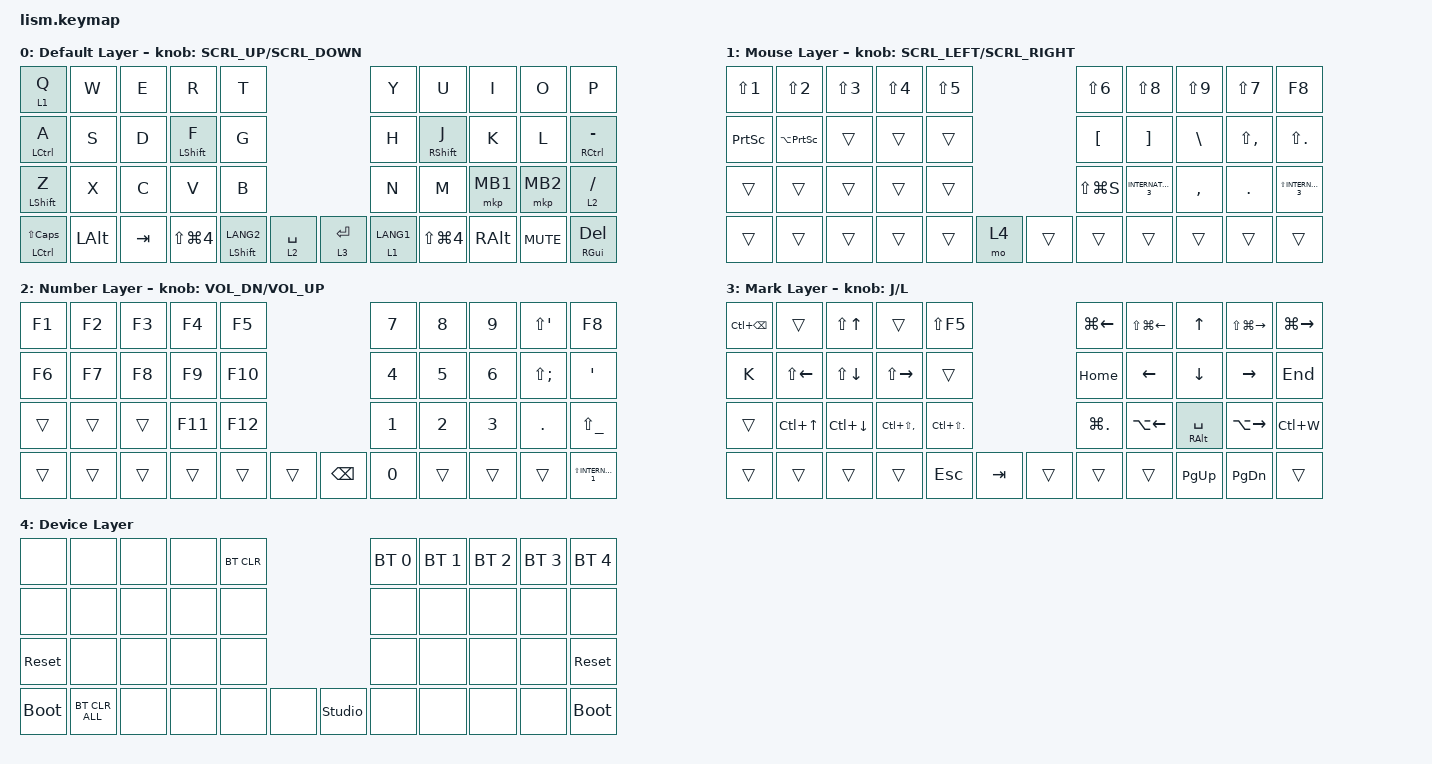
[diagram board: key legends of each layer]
#define ZMK_POINTING_DEFAULT_SCRL_VAL 200

#include <dt-bindings/zmk/mouse.h>
#include <behaviors.dtsi>
#include <dt-bindings/zmk/bt.h>
#include <dt-bindings/zmk/keys.h>
#include <dt-bindings/zmk/pointing.h>

&mt {
    tapping-term-ms = <200>;
    flavor = "balanced";
};

&lt { quick-tap-ms = <200>; };

/ {
    macros {
        emoji: emoji_macro {
            compatible = "zmk,behavior-macro";
            label = "EMOJI";
            #binding-cells = <0>;
            bindings =
                <&macro_press>,
                <&kp CAPSLOCK>,
                <&macro_tap>,
                <&kp E>,
                <&macro_release>,
                <&kp CAPSLOCK>;
        };
    };

    behaviors {
        encoder_msc: sensor_rotate_msc {
            compatible = "zmk,behavior-sensor-rotate-var";
            #sensor-binding-cells = <2>;
            bindings = <&msc>, <&msc>;

            tap-ms = <20>;
        };

        encoder_kp: sensor_rotate_kp {
            compatible = "zmk,behavior-sensor-rotate-var";
            #sensor-binding-cells = <2>;
            bindings = <&kp>, <&kp>;
        };
    };

    combos {
        compatible = "zmk,combos";

        combo_scroll {
            bindings = <&mo 2>;
            key-positions = <27 28>;
            slow-release;
        };
    };

    keymap {
        compatible = "zmk,keymap";

        default_layer {
            display-name = "Default Layer";
            bindings = <
&lt 1 Q             &kp W     &kp E    &kp R           &kp T                                         &kp Y        &kp U           &kp I     &kp O       &kp P
&mt LCTRL A         &kp S     &kp D    &mt LSHIFT F    &kp G                                         &kp H        &mt RSHIFT J    &kp K     &kp L       &mt RCTRL MINUS
&mt LSHIFT Z        &kp X     &kp C    &kp V           &kp B                                         &kp N        &kp M           &mkp MB1  &mkp MB2    &lt 2 SLASH
&mt LCTRL LS(CAPS)  &kp LALT  &kp TAB  &kp LS(LG(N4))  &mt LSHIFT LANG2  &lt 2 SPACE    &lt 3 ENTER  &lt 1 LANG1  &kp LS(LG(N4))  &kp RALT  &kp C_MUTE  &mt RGUI DELETE
            >;

            sensor-bindings = <&encoder_msc SCRL_UP SCRL_DOWN>;
        };

        layer_1 {
            display-name = "Mouse Layer";
            bindings = <
&kp LS(NUMBER_1)  &kp LS(NUMBER_2)     &kp LS(NUMBER_3)  &kp LS(NUMBER_4)  &kp LS(NUMBER_5)                   &kp LS(NUMBER_6)  &kp LS(NUMBER_8)     &kp LS(NUMBER_9)  &kp LS(N7)     &kp F8
&kp PRINTSCREEN   &kp LA(PRINTSCREEN)  &trans            &trans            &trans                             &kp LEFT_BRACKET  &kp RIGHT_BRACKET    &kp BACKSLASH     &kp LS(COMMA)  &kp LS(PERIOD)
&trans            &trans               &trans            &trans            &trans                             &kp LS(LG(S))     &kp INTERNATIONAL_3  &kp COMMA         &kp PERIOD     &kp LS(INTERNATIONAL_3)
&trans            &trans               &trans            &trans            &trans            &mo 4    &trans  &trans            &trans               &trans            &trans         &trans
            >;

            sensor-bindings = <&encoder_msc SCRL_LEFT SCRL_RIGHT>;
        };

        layer_2 {
            display-name = "Number Layer";
            bindings = <
&kp F1  &kp F2  &kp F3  &kp F4   &kp F5                            &kp NUMBER_7  &kp NUMBER_8  &kp NUMBER_9  &kp LS(APOS)  &kp F8
&kp F6  &kp F7  &kp F8  &kp F9   &kp F10                           &kp NUMBER_4  &kp NUMBER_5  &kp NUMBER_6  &kp LS(SEMI)  &kp APOS
&trans  &trans  &trans  &kp F11  &kp F12                           &kp NUMBER_1  &kp NUMBER_2  &kp NUMBER_3  &kp PERIOD    &kp LS(UNDERSCORE)
&trans  &trans  &trans  &trans   &trans   &trans    &kp BACKSPACE  &kp NUMBER_0  &trans        &trans        &trans        &kp LS(INTERNATIONAL_1)
            >;

            sensor-bindings = <&encoder_kp C_VOL_DN C_VOL_UP>;
        };

        layer_3 {
            display-name = "Mark Layer";
            bindings = <
&kp LC(BACKSPACE)  &trans            &kp LS(UP)    &trans             &kp LS(F5)                             &kp LG(LEFT)    &kp LS(LG(LEFT_ARROW))  &kp UP          &kp LS(LG(RIGHT))  &kp LG(RIGHT)
&kp K              &kp LS(LEFT)      &kp LS(DOWN)  &kp LS(RIGHT)      &trans                                 &kp HOME        &kp LEFT                &kp DOWN        &kp RIGHT          &kp END
&trans             &kp LC(UP_ARROW)  &kp LC(DOWN)  &kp LC(LS(COMMA))  &kp LC(LS(PERIOD))                     &kp LG(PERIOD)  &kp LA(LEFT)            &mt RALT SPACE  &kp LA(RIGHT)      &kp LC(W)
&trans             &trans            &trans        &trans             &kp ESCAPE          &kp TAB    &trans  &trans          &trans                  &kp PAGE_UP     &kp PAGE_DOWN      &trans
            >;

            sensor-bindings = <&encoder_kp J L>;
        };

        layer_4 {
            display-name = "Device Layer";
            bindings = <
&none        &none           &none  &none  &bt BT_CLR                           &bt BT_SEL 0  &bt BT_SEL 1  &bt BT_SEL 2  &bt BT_SEL 3  &bt BT_SEL 4
&none        &none           &none  &none  &none                                &none         &none         &none         &none         &none
&sys_reset   &none           &none  &none  &none                                &none         &none         &none         &none         &sys_reset
&bootloader  &bt BT_CLR_ALL  &none  &none  &none       &none    &studio_unlock  &none         &none         &none         &none         &bootloader
            >;
        };

        layer_5 {
            status = "reserved";
            display-name = "Brank Layer";
            bindings = <
&trans  &trans  &trans  &trans  &trans                    &trans  &trans  &trans  &trans  &trans
&trans  &trans  &trans  &trans  &trans                    &trans  &trans  &trans  &trans  &trans
&trans  &trans  &trans  &trans  &trans                    &trans  &trans  &trans  &trans  &trans
&trans  &trans  &trans  &trans  &trans  &trans    &trans  &trans  &trans  &trans  &trans  &trans
            >;
        };

        layer_6 {
            status = "reserved";
            display-name = "Brank Layer";
            bindings = <
&trans  &trans  &trans  &trans  &trans                    &trans  &trans  &trans  &trans  &trans
&trans  &trans  &trans  &trans  &trans                    &trans  &trans  &trans  &trans  &trans
&trans  &trans  &trans  &trans  &trans                    &trans  &trans  &trans  &trans  &trans
&trans  &trans  &trans  &trans  &trans  &trans    &trans  &trans  &trans  &trans  &trans  &trans
            >;
        };

        layer_7 {
            status = "reserved";
            display-name = "Brank Layer";
            bindings = <
&trans  &trans  &trans  &trans  &trans                    &trans  &trans  &trans  &trans  &trans
&trans  &trans  &trans  &trans  &trans                    &trans  &trans  &trans  &trans  &trans
&trans  &trans  &trans  &trans  &trans                    &trans  &trans  &trans  &trans  &trans
&trans  &trans  &trans  &trans  &trans  &trans    &trans  &trans  &trans  &trans  &trans  &trans
            >;
        };
    };
};
